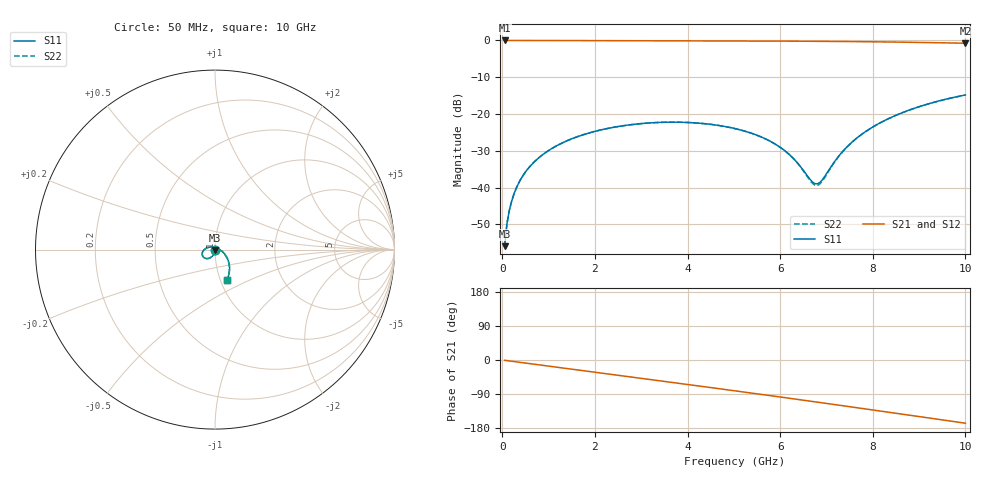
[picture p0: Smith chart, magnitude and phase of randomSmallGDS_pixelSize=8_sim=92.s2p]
! freq	dB(S11)	phase(S11)	dB(S12)	phase(S12)
!  dB(S21)	phase(S21)	dB(S22)	phase(S22)
!S-par simulation data
#  GHz  S  DB  R 50
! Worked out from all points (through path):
!   200 points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, 50 MHz to 10 GHz, reference 50 ohm
!   highest |S21| = 0.00 dB at 50 MHz (marker M1); lowest = -0.8 dB at 10 GHz (marker M2)
!   group delay of S21, straight-line fit = 46.2 ps
!   lowest |S11| = -55.9 dB at 50 MHz (marker M3), VSWR 1.00, Z = 50 - j0.16 ohm
!   |S11| at or under -10 dB: start of sweep to end of sweep
!   |S22| runs from -55.9 to -14.8 dB; largest |S21 - S12| = 0
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0.05  -55.94 -90.6  -0.00 -0.8  -0.00 -0.8  -55.94 -90.6
0.1  -49.88 -92.1  -0.00 -1.6  -0.00 -1.6  -49.88 -92.1
0.2  -43.78 -94.2  -0.00 -3.3  -0.00 -3.3  -43.78 -94.2
0.35  -38.87 -96.7  -0.00 -5.7  -0.00 -5.7  -38.87 -96.7
0.5  -35.77 -99.1  -0.01 -8.1  -0.01 -8.1  -35.77 -99.1
1  -29.93 -107.3  -0.02 -16.2  -0.02 -16.2  -29.93 -107.3
1.75  -25.63 -119.7  -0.04 -28.2  -0.04 -28.2  -25.63 -119.7
2.5  -23.41 -132.2  -0.06 -40.3  -0.06 -40.3  -23.41 -132.1
3.4  -22.28 -147.3  -0.09 -54.8  -0.09 -54.8  -22.28 -147.2
4.25  -22.50 -162.2  -0.11 -68.6  -0.11 -68.6  -22.50 -162.0
5.05  -24.04 -177.5  -0.14 -81.8  -0.14 -81.8  -24.04 -177.2
5.55  -26.03 171.4  -0.16 -90.1  -0.16 -90.1  -26.03 171.8
6  -29.04 158.2  -0.18 -97.6  -0.18 -97.6  -29.06 158.9
6.35  -32.94 141.0  -0.20 -103.5  -0.20 -103.5  -33.02 142.2
6.7  -38.51 94.0  -0.22 -109.4  -0.22 -109.4  -38.89 95.2
6.8  -38.99 68.9  -0.23 -111.1  -0.23 -111.1  -39.44 69.0
6.9  -38.07 44.3  -0.24 -112.9  -0.24 -112.9  -38.46 43.3
7.25  -31.67 0.5  -0.27 -118.9  -0.27 -118.9  -31.78 -0.7
7.6  -27.11 -16.2  -0.31 -124.9  -0.31 -124.9  -27.15 -17.1
8.35  -21.20 -36.4  -0.41 -137.9  -0.41 -137.9  -21.22 -37.0
9.1  -17.61 -51.9  -0.55 -151.0  -0.55 -151.0  -17.63 -52.3
10  -14.83 -68.5  -0.76 -166.8  -0.76 -166.8  -14.84 -68.9
